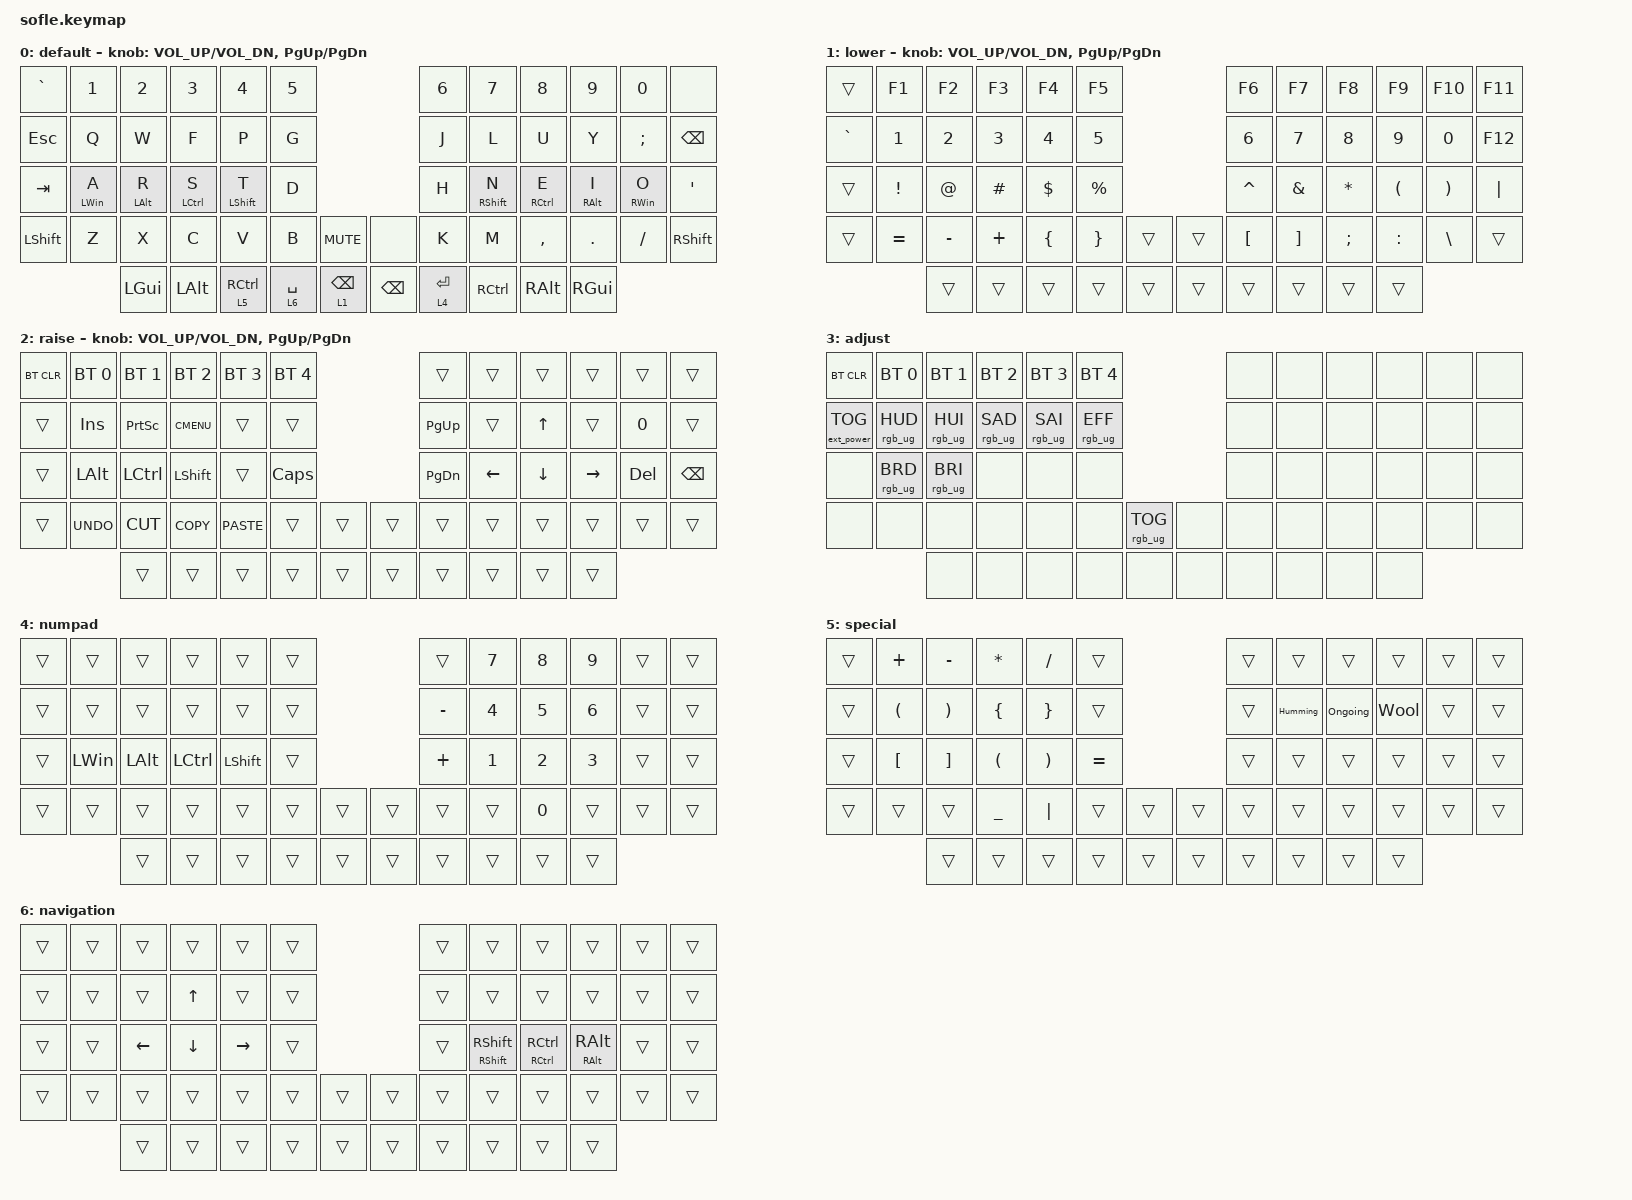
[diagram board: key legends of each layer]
/*
 * Copyright (c) 2020 The ZMK Contributors
 *
 * SPDX-License-Identifier: MIT
 */

#include <behaviors.dtsi>
#include <dt-bindings/zmk/bt.h>
#include <dt-bindings/zmk/ext_power.h>
#include <dt-bindings/zmk/keys.h>
#include <dt-bindings/zmk/rgb.h>

#define BASE 0
#define LOWER 1
#define RAISE 2
#define ADJUST 3

&mt { flavor = "tap-preferred"; };

/ {
    // Activate ADJUST layer by pressing raise and lower

    conditional_layers {
        compatible = "zmk,conditional-layers";

        adjust_layer {
            if-layers = <LOWER RAISE>;
            then-layer = <ADJUST>;
        };
    };

    macros {
        Ongoing: Ongoing {
            compatible = "zmk,behavior-macro";
            #binding-cells = <0>;
            bindings = <&kp LS(O) &kp N &kp G &kp O &kp I &kp N &kp G &kp N9>;
            label = "ONGOING";
        };

        Humming: Humming {
            compatible = "zmk,behavior-macro";
            #binding-cells = <0>;
            bindings = <&kp MINUS &kp LS(H) &kp U &kp M &kp M &kp I &kp N &kp G &kp MINUS>;
            label = "HUMMING";
        };

        Wool: Wool {
            compatible = "zmk,behavior-macro";
            #binding-cells = <0>;
            bindings = <&kp LS(W) &kp O &kp O &kp L>;
            label = "WOOL";
        };
    };

    keymap {
        compatible = "zmk,keymap";

        default_layer {
            display-name = "default";

            // ------------------------------------------------------------------------------------------------------------
            // |   `   |  1  |  2  |  3   |  4   |  5   |                   |  6   |  7    |  8    |  9   |   0   |       |
            // |  ESC  |  Q  |  W  |  E   |  R   |  T   |                   |  Y   |  U    |  I    |  O   |   P   | BKSPC |
            // |  TAB  |  A  |  S  |  D   |  F   |  G   |                   |  H   |  J    |  K    |  L   |   ;   |   '   |
            // | SHIFT |  Z  |  X  |  C   |  V   |  B   |  MUTE  |  |       |  N   |  M    |  ,    |  .   |   /   | SHIFT |
            //               | GUI | ALT  | CTRL | LOWER|  ENTER |  | SPACE | RAISE| CTRL  | ALT   | GUI  |

            bindings = <
&kp GRAVE  &kp N1          &kp N2          &kp N3       &kp N4               &kp N5                                         &kp N6       &kp N7             &kp N8       &kp N9           &kp N0           &none
&kp ESC    &kp Q           &kp W           &kp F        &kp P                &kp G                                          &kp J        &kp L              &kp U        &kp Y            &kp SEMICOLON    &kp BSPC
&kp TAB    &mt LEFT_WIN A  &mt LEFT_ALT R  &mt LCTRL S  &mt LEFT_SHIFT T     &kp D                                          &kp H        &mt RIGHT_SHIFT N  &mt RCTRL E  &mt RIGHT_ALT I  &mt RIGHT_WIN O  &kp SQT
&kp LSHFT  &kp Z           &kp X           &kp C        &kp V                &kp B        &kp C_MUTE         &none          &kp K        &kp M              &kp COMMA    &kp DOT          &kp FSLH         &kp RSHFT
                           &kp LGUI        &kp LALT     &lt 5 RIGHT_CONTROL  &lt 6 SPACE  &lt 1 BACKSPACE    &kp BACKSPACE  &lt 4 ENTER  &kp RCTRL          &kp RALT     &kp RGUI
            >;

            sensor-bindings = <&inc_dec_kp C_VOL_UP C_VOL_DN &inc_dec_kp PG_UP PG_DN>;
        };

        lower_layer {
            display-name = "lower";

            // TODO: Some binds are waiting for shifted keycode support.
            // ------------------------------------------------------------------------------------------------------------
            // |       |  F1 |  F2 |  F3  |  F4  |  F5  |                   |  F6  |  F7   |  F8   |  F9  |  F10  |  F11  |
            // |   `   |  1  |  2  |  3   |  4   |  5   |                   |  6   |  7    |  8    |  9   |   0   |  F12  |
            // |       |  !  |  @  |  #   |  $   |  %   |                   |  ^   |  &    |  *    |  (   |   )   |   |   |
            // |       |  =  |  -  |  +   |  {   |  }   |        |  |       |  [   |  ]    |  ;    |  :   |   \   |       |
            //               |     |      |      |      |        |  |       |      |       |       |      |

            bindings = <
&trans     &kp F1     &kp F2     &kp F3    &kp F4    &kp F5                       &kp F6     &kp F7    &kp F8     &kp F9     &kp F10   &kp F11
&kp GRAVE  &kp N1     &kp N2     &kp N3    &kp N4    &kp N5                       &kp N6     &kp N7    &kp N8     &kp N9     &kp N0    &kp F12
&trans     &kp EXCL   &kp AT     &kp HASH  &kp DLLR  &kp PRCNT                    &kp CARET  &kp AMPS  &kp ASTRK  &kp LPAR   &kp RPAR  &kp PIPE
&trans     &kp EQUAL  &kp MINUS  &kp PLUS  &kp LBRC  &kp RBRC   &trans    &trans  &kp LBKT   &kp RBKT  &kp SEMI   &kp COLON  &kp BSLH  &trans
                      &trans     &trans    &trans    &trans     &trans    &trans  &trans     &trans    &trans     &trans
            >;

            sensor-bindings = <&inc_dec_kp C_VOL_UP C_VOL_DN &inc_dec_kp PG_UP PG_DN>;
        };

        raise_layer {
            display-name = "raise";

            // ------------------------------------------------------------------------------------------------------------
            // | BTCLR | BT1  | BT2  |  BT3  |  BT4  |  BT5 |                |      |      |       |      |       |       |
            // |       | INS  | PSCR | GUI   |       |      |                | PGUP |      |   ^   |      |       |       |
            // |       | ALT  | CTRL | SHIFT |       | CAPS |                | PGDN |   <- |   v   |  ->  |  DEL  | BKSPC |
            // |       | UNDO | CUT  | COPY  | PASTE |      |      |  |      |      |      |       |      |       |       |
            //                |      |       |       |      |      |  |      |      |      |       |      |

            bindings = <
&bt BT_CLR  &bt BT_SEL 0  &bt BT_SEL 1  &bt BT_SEL 2  &bt BT_SEL 3  &bt BT_SEL 4                    &trans     &trans    &trans    &trans     &trans   &trans
&trans      &kp INS       &kp PSCRN     &kp K_CMENU   &trans        &trans                          &kp PG_UP  &trans    &kp UP    &trans     &kp N0   &trans
&trans      &kp LALT      &kp LCTRL     &kp LSHFT     &trans        &kp CLCK                        &kp PG_DN  &kp LEFT  &kp DOWN  &kp RIGHT  &kp DEL  &kp BSPC
&trans      &kp K_UNDO    &kp K_CUT     &kp K_COPY    &kp K_PASTE   &trans        &trans    &trans  &trans     &trans    &trans    &trans     &trans   &trans
                          &trans        &trans        &trans        &trans        &trans    &trans  &trans     &trans    &trans    &trans
            >;

            sensor-bindings = <&inc_dec_kp C_VOL_UP C_VOL_DN &inc_dec_kp PG_UP PG_DN>;
        };

        adjust_layer {
            // ----------------------------------------------------------------------------------------------------------------------------
            // | BTCLR  |  BT1    |  BT2    |   BT3   |   BT4   |   BT5   |                  |      |      |       |      |       |       |
            // | EXTPWR | RGB_HUD | RGB_HUI | RGB_SAD | RGB_SAI | RGB_EFF |                  |      |      |       |      |       |       |
            // |        | RGB_BRD | RGB_BRI |         |         |         |                  |      |      |       |      |       |       |
            // |        |         |         |         |         |         | RGB_TOG | |      |      |      |       |      |       |       |
            //                    |         |         |         |         |         | |      |      |      |       |      |

            display-name = "adjust";
            bindings = <
&bt BT_CLR         &bt BT_SEL 0     &bt BT_SEL 1     &bt BT_SEL 2     &bt BT_SEL 3     &bt BT_SEL 4                               &none  &none  &none  &none  &none  &none
&ext_power EP_TOG  &rgb_ug RGB_HUD  &rgb_ug RGB_HUI  &rgb_ug RGB_SAD  &rgb_ug RGB_SAI  &rgb_ug RGB_EFF                            &none  &none  &none  &none  &none  &none
&none              &rgb_ug RGB_BRD  &rgb_ug RGB_BRI  &none            &none            &none                                      &none  &none  &none  &none  &none  &none
&none              &none            &none            &none            &none            &none            &rgb_ug RGB_TOG    &none  &none  &none  &none  &none  &none  &none
                                    &none            &none            &none            &none            &none              &none  &none  &none  &none  &none
            >;
        };

        numpad {
            bindings = <
&trans  &trans        &trans        &trans            &trans          &trans                    &trans     &kp NUMBER_7  &kp NUMBER_8  &kp NUMBER_9  &trans  &trans
&trans  &trans        &trans        &trans            &trans          &trans                    &kp MINUS  &kp NUMBER_4  &kp NUMBER_5  &kp NUMBER_6  &trans  &trans
&trans  &kp LEFT_WIN  &kp LEFT_ALT  &kp LEFT_CONTROL  &kp LEFT_SHIFT  &trans                    &kp PLUS   &kp NUMBER_1  &kp NUMBER_2  &kp NUMBER_3  &trans  &trans
&trans  &trans        &trans        &trans            &trans          &trans  &trans    &trans  &trans     &trans        &kp NUMBER_0  &trans        &trans  &trans
                      &trans        &trans            &trans          &trans  &trans    &trans  &trans     &trans        &trans        &trans
            >;
        };

        special {
            bindings = <
&trans  &kp PLUS          &kp MINUS          &kp ASTERISK          &kp SLASH              &trans                       &trans  &trans    &trans    &trans  &trans  &trans
&trans  &kp LPAR          &kp RPAR           &kp LEFT_BRACE        &kp RIGHT_BRACE        &trans                       &trans  &Humming  &Ongoing  &Wool   &trans  &trans
&trans  &kp LEFT_BRACKET  &kp RIGHT_BRACKET  &kp LEFT_PARENTHESIS  &kp RIGHT_PARENTHESIS  &kp EQUAL                    &trans  &trans    &trans    &trans  &trans  &trans
&trans  &trans            &trans             &kp UNDERSCORE        &kp PIPE               &trans     &trans    &trans  &trans  &trans    &trans    &trans  &trans  &trans
                          &trans             &trans                &trans                 &trans     &trans    &trans  &trans  &trans    &trans    &trans
            >;
        };

        navigation {
            bindings = <
&trans  &trans  &trans          &trans          &trans     &trans                    &trans  &trans                       &trans                           &trans         &trans  &trans
&trans  &trans  &trans          &kp UP_ARROW    &trans     &trans                    &trans  &trans                       &trans                           &trans         &trans  &trans
&trans  &trans  &kp LEFT_ARROW  &kp DOWN_ARROW  &kp RIGHT  &trans                    &trans  &mt RIGHT_SHIFT RIGHT_SHIFT  &mt RIGHT_CONTROL RIGHT_CONTROL  &mt RALT RALT  &trans  &trans
&trans  &trans  &trans          &trans          &trans     &trans  &trans    &trans  &trans  &trans                       &trans                           &trans         &trans  &trans
                &trans          &trans          &trans     &trans  &trans    &trans  &trans  &trans                       &trans                           &trans
            >;
        };
    };
};
